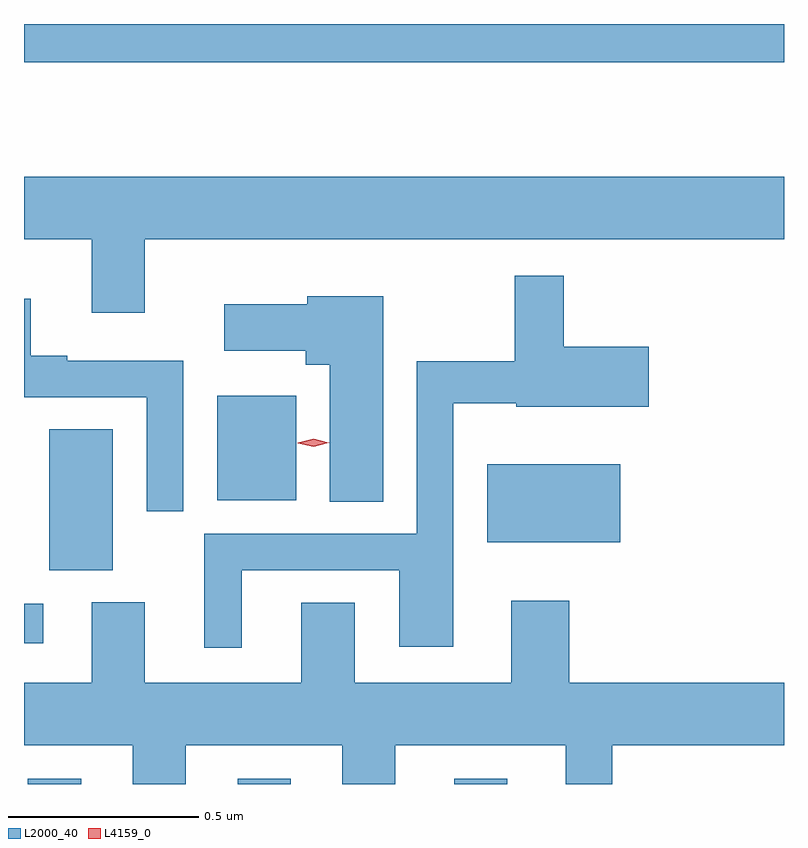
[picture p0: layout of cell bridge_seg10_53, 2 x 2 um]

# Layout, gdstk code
import gdstk
lib = gdstk.Library(unit=1e-6, precision=1e-09)
def R(c, l, rs):  # rectangles x0, y0, x1, y1
    for r in rs: c.add(gdstk.rectangle(r[:2], r[2:], *l))
def P(c, l, *ps):  # polygons
    for p in ps: c.add(gdstk.Polygon(p, *l))
L2000_40 = (2000, 40)
L4159_0 = (4159, 0)

bridge_seg10_53 = lib.new_cell('bridge_seg10_53')
R(bridge_seg10_53, L2000_40, [(867.005,1320.194,867.145,1320.208), (867.557,1320.194,867.697,1320.208), (868.127,1320.194,868.267,1320.208), (866.995,1320.564,867.046,1320.669), (867.062,1320.757,867.229,1321.127), (868.214,1320.83,868.564,1321.036), (867.503,1320.941,867.712,1321.216), (866.995,1322.094,868.995,1322.194)])
P(bridge_seg10_53, L2000_40, [(867.313,1321.628),(868.995,1321.628),(868.995,1321.792),(866.995,1321.792),(866.995,1321.628),(867.173,1321.628),(867.173,1321.434),(867.313,1321.434)],
  [(867.568,1320.756),(867.983,1320.756),(867.983,1320.555),(868.125,1320.555),(868.125,1321.196),(868.29,1321.196),(868.29,1321.187),(868.639,1321.187),(868.639,1321.345),(868.415,1321.345),(868.415,1321.531),(868.287,1321.531),(868.287,1321.306),(868.029,1321.306),(868.029,1320.852),(867.469,1320.852),(867.469,1320.552),(867.568,1320.552)],
  [(867.94,1321.477),(867.741,1321.477),(867.741,1321.456),(867.522,1321.456),(867.522,1321.334),(867.737,1321.334),(867.737,1321.297),(867.8,1321.297),(867.8,1320.937),(867.94,1320.937)],
  [(867.414,1321.308),(867.109,1321.308),(867.109,1321.321),(867.013,1321.321),(867.013,1321.471),(866.995,1321.471),(866.995,1321.212),(867.318,1321.212),(867.318,1320.912),(867.414,1320.912)],
  [(867.173,1320.46),(866.995,1320.46),(866.995,1320.296),(867.281,1320.296),(867.281,1320.194),(867.421,1320.194),(867.421,1320.296),(867.833,1320.296),(867.833,1320.194),(867.972,1320.194),(867.972,1320.296),(868.421,1320.296),(868.421,1320.194),(868.543,1320.194),(868.543,1320.296),(868.995,1320.296),(868.995,1320.46),(868.43,1320.46),(868.43,1320.676),(868.277,1320.676),(868.277,1320.46),(867.865,1320.46),(867.865,1320.671),(867.725,1320.671),(867.725,1320.46),(867.313,1320.46),(867.313,1320.672),(867.173,1320.672)])
P(bridge_seg10_53, L4159_0, [(867.757,1321.082),(867.716,1321.091),(867.716,1321.091),(867.716,1321.092),(867.757,1321.102),(867.797,1321.092),(867.798,1321.092),(867.797,1321.092)])

lib.write_gds('bridge_seg10_53.gds')
